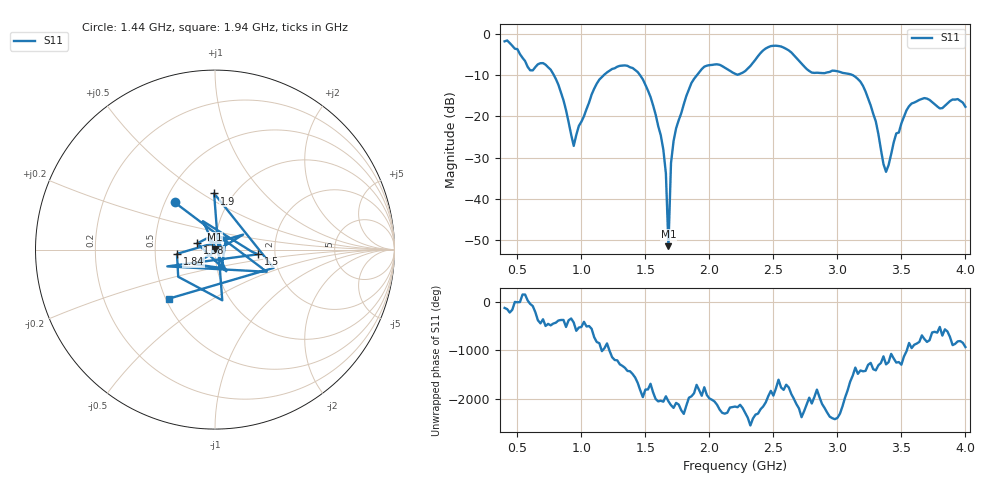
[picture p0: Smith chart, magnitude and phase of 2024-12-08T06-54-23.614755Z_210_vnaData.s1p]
!Created with skrf (http://scikit-rf.org).
# Hz S RI R 50.0
!freq ReS11 ImS11
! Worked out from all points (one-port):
!   181 points, 400 MHz to 4 GHz, reference 50 ohm
!   lowest |S11| = -51.5 dB at 1.68 GHz (marker M1), VSWR 1.01, Z = 49.9 + j0.246 ohm
!   |S11| at or under -10 dB: 785.1 MHz to 1.175 GHz (389.6 MHz wide, 39.8 % of centre); 1.458 GHz to 1.902 GHz (443.9 MHz wide, 26.4 % of centre); 3.121 GHz to end of sweep
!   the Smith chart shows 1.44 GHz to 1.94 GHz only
!   S11 on the Smith chart (normalised r, x): 1.44 GHz: 0.56, +0.34; 1.5 GHz: 1.63, -0.09; 1.58 GHz: 0.82, +0.06; 1.84 GHz: 0.65, -0.03; 1.9 GHz: 0.81, +0.57; 1.94 GHz: 0.52, -0.33
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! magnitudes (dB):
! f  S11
! 400 MHz  -1.8
! 600 MHz  -8.8
! 760 MHz  -8.7
! 860 MHz  -16.1
! 940 MHz  -27.2
! 1.12 GHz  -12.0
! 1.3 GHz  -7.7
! 1.44 GHz  -9.2
! 1.5 GHz  -12.3
! 1.58 GHz  -19.6
! 1.64 GHz  -28.1
! 1.66 GHz  -33.8
! 1.68 GHz  -51.5
! 1.7 GHz  -31.3
! 1.76 GHz  -20.9
! 1.84 GHz  -13.4
! 1.9 GHz  -10.1
! 1.94 GHz  -8.5
! 2.2 GHz  -9.6
! 2.48 GHz  -2.9
! 2.66 GHz  -5.1
! 2.8 GHz  -9.4
! 3.1 GHz  -9.8
! 3.26 GHz  -17.3
! 3.38 GHz  -33.5
! 3.46 GHz  -24.1
! 3.56 GHz  -17.5
! 4 GHz  -17.7
